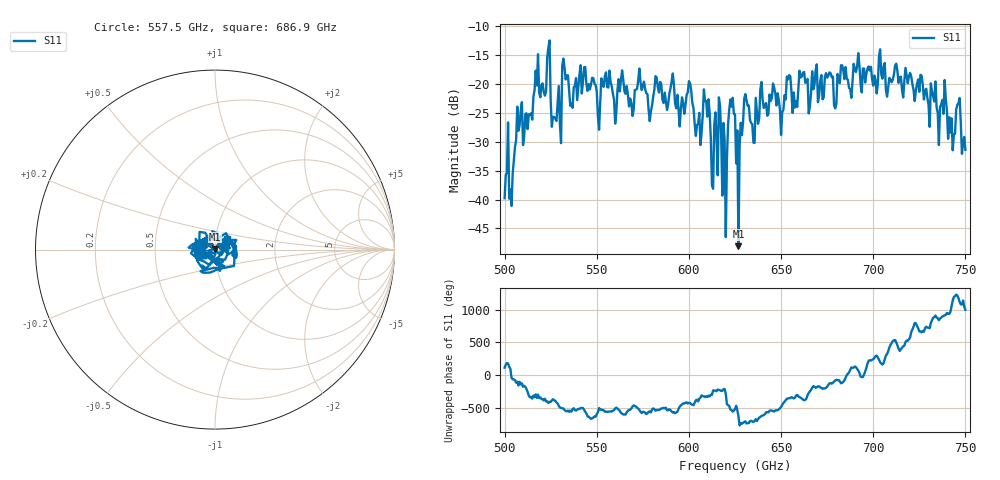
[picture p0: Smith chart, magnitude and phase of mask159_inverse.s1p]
!Created with skrf (http://scikit-rf.org).
# GHz S MA R 50.0
!freq magS11 angS11
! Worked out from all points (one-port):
!   401 points, 500 GHz to 750 GHz, reference 50 ohm
!   lowest |S11| = -48.1 dB at 626.9 GHz (marker M1), VSWR 1.01, Z = 50 + j0.395 ohm
!   |S11| at or under -10 dB: start of sweep to end of sweep
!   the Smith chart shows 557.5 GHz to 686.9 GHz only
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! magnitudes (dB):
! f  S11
! 500 GHz  -39.8
! 516.9 GHz  -17.7
! 523.8 GHz  -13.7
! 526.9 GHz  -25.7
! 531.2 GHz  -16.9
! 532.5 GHz  -17.2
! 536.2 GHz  -23.3
! 562.5 GHz  -21.3
! 593.8 GHz  -21.9
! 600 GHz  -19.5
! 605 GHz  -26.8
! 609.4 GHz  -23.0
! 612.5 GHz  -37.5
! 617.5 GHz  -28.9
! 619.4 GHz  -29.8
! 622.5 GHz  -22.7
! 625 GHz  -25.3
! 626.9 GHz  -48.1
! 631.2 GHz  -22.9
! 634.4 GHz  -27.0
! 640 GHz  -22.7
! 656.2 GHz  -25.0
! 687.5 GHz  -20.9
! 718.8 GHz  -19.9
! 738.8 GHz  -19.3
! 743.1 GHz  -31.5
! 746.2 GHz  -23.4
! 750 GHz  -31.4
